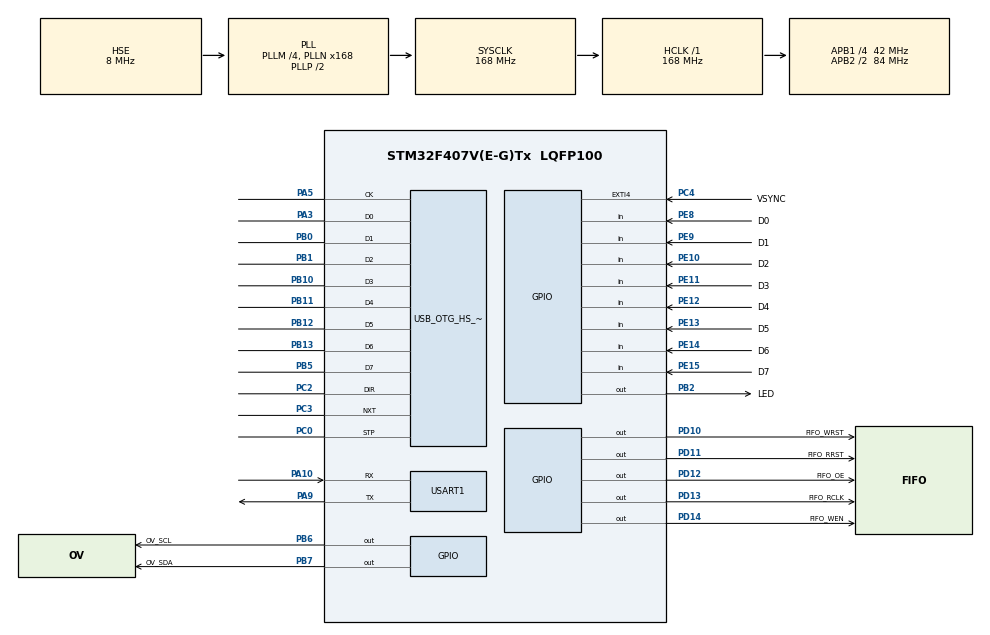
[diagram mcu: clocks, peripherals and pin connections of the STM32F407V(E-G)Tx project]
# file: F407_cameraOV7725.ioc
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Mcu.Family=STM32F4
Mcu.Name=STM32F407V(E-G)Tx
Mcu.Package=LQFP100
NVIC.EXTI4_IRQn=true\:0\:0\:true\:false\:true\:true\:true\:true
NVIC.OTG_HS_IRQn=true\:0\:0\:false\:false\:true\:false\:true\:true
NVIC.PriorityGroup=NVIC_PRIORITYGROUP_4
NVIC.TIM2_IRQn=true\:0\:0\:false\:false\:true\:true\:true\:true
NVIC.USART1_IRQn=true\:0\:0\:true\:false\:true\:true\:true\:true
PA10.Mode=Asynchronous
PA10.Signal=USART1_RX
PA13.Mode=Serial_Wire
PA13.Signal=SYS_JTMS-SWDIO
PA14.Mode=Serial_Wire
PA14.Signal=SYS_JTCK-SWCLK
PA3.Mode=Device_HS
PA3.Signal=USB_OTG_HS_ULPI_D0
PA5.Mode=Device_HS
PA5.Signal=USB_OTG_HS_ULPI_CK
PA9.Mode=Asynchronous
PA9.Signal=USART1_TX
PB0.Mode=Device_HS
PB0.Signal=USB_OTG_HS_ULPI_D1
PB1.Mode=Device_HS
PB1.Signal=USB_OTG_HS_ULPI_D2
PB10.Mode=Device_HS
PB10.Signal=USB_OTG_HS_ULPI_D3
PB11.Mode=Device_HS
PB11.Signal=USB_OTG_HS_ULPI_D4
PB12.Mode=Device_HS
PB12.Signal=USB_OTG_HS_ULPI_D5
PB13.Mode=Device_HS
PB13.Signal=USB_OTG_HS_ULPI_D6
PB2.GPIO_Label=LED
PB2.GPIO_ModeDefaultOutputPP=GPIO_MODE_OUTPUT_PP
PB2.GPIO_PuPd=GPIO_PULLUP
PB2.GPIO_Speed=GPIO_SPEED_FREQ_HIGH
PB2.PinState=GPIO_PIN_RESET
PB2.Signal=GPIO_Output
PB5.Mode=Device_HS
PB5.Signal=USB_OTG_HS_ULPI_D7
PB6.GPIO_Label=OV_SCL
PB6.GPIO_ModeDefaultOutputPP=GPIO_MODE_OUTPUT_OD
PB6.GPIO_PuPd=GPIO_PULLUP
PB6.GPIO_Speed=GPIO_SPEED_FREQ_VERY_HIGH
PB6.PinState=GPIO_PIN_SET
PB6.Signal=GPIO_Output
PB7.GPIO_Label=OV_SDA
PB7.GPIO_ModeDefaultOutputPP=GPIO_MODE_OUTPUT_OD
PB7.GPIO_PuPd=GPIO_PULLUP
PB7.GPIO_Speed=GPIO_SPEED_FREQ_VERY_HIGH
PB7.PinState=GPIO_PIN_SET
PB7.Signal=GPIO_Output
PC0.Mode=Device_HS
PC0.Signal=USB_OTG_HS_ULPI_STP
PC2.Mode=Device_HS
PC2.Signal=USB_OTG_HS_ULPI_DIR
PC3.Mode=Device_HS
PC3.Signal=USB_OTG_HS_ULPI_NXT
PC4.GPIO_Label=VSYNC
PC4.GPIO_ModeDefaultEXTI=GPIO_MODE_IT_RISING
PC4.GPIO_PuPd=GPIO_NOPULL
PC4.Signal=GPXTI4
PD10.GPIO_Label=FIFO_WRST
PD10.GPIO_PuPd=GPIO_PULLUP
PD10.GPIO_Speed=GPIO_SPEED_FREQ_VERY_HIGH
PD10.PinState=GPIO_PIN_SET
PD10.Signal=GPIO_Output
PD11.GPIO_Label=FIFO_RRST
PD11.GPIO_ModeDefaultOutputPP=GPIO_MODE_OUTPUT_PP
PD11.GPIO_PuPd=GPIO_PULLUP
PD11.GPIO_Speed=GPIO_SPEED_FREQ_VERY_HIGH
PD11.PinState=GPIO_PIN_SET
PD11.Signal=GPIO_Output
PD12.GPIO_Label=FIFO_OE
PD12.GPIO_ModeDefaultOutputPP=GPIO_MODE_OUTPUT_PP
PD12.GPIO_PuPd=GPIO_PULLUP
PD12.GPIO_Speed=GPIO_SPEED_FREQ_VERY_HIGH
PD12.PinState=GPIO_PIN_SET
PD12.Signal=GPIO_Output
PD13.GPIO_Label=FIFO_RCLK
PD13.GPIO_ModeDefaultOutputPP=GPIO_MODE_OUTPUT_PP
PD13.GPIO_PuPd=GPIO_PULLUP
PD13.GPIO_Speed=GPIO_SPEED_FREQ_VERY_HIGH
PD13.PinState=GPIO_PIN_SET
PD13.Signal=GPIO_Output
PD14.GPIO_Label=FIFO_WEN
PD14.GPIO_ModeDefaultOutputPP=GPIO_MODE_OUTPUT_PP
PD14.GPIO_PuPd=GPIO_PULLUP
PD14.GPIO_Speed=GPIO_SPEED_FREQ_VERY_HIGH
PD14.PinState=GPIO_PIN_SET
PD14.Signal=GPIO_Output
PE10.GPIO_Label=D2
PE10.GPIO_PuPd=GPIO_PULLUP
PE10.Signal=GPIO_Input
PE11.GPIO_Label=D3
PE11.GPIO_PuPd=GPIO_PULLUP
PE11.Signal=GPIO_Input
PE12.GPIO_Label=D4
PE12.GPIO_PuPd=GPIO_PULLUP
PE12.Signal=GPIO_Input
PE13.GPIO_Label=D5
PE13.GPIO_PuPd=GPIO_PULLUP
PE13.Signal=GPIO_Input
PE14.GPIO_Label=D6
PE14.GPIO_PuPd=GPIO_PULLUP
PE14.Signal=GPIO_Input
PE15.GPIO_Label=D7
PE15.GPIO_PuPd=GPIO_PULLUP
PE15.Signal=GPIO_Input
PE8.GPIO_Label=D0
PE8.GPIO_PuPd=GPIO_PULLUP
PE8.Signal=GPIO_Input
PE9.GPIO_Label=D1
PE9.GPIO_PuPd=GPIO_PULLUP
PE9.Signal=GPIO_Input
PH0-OSC_IN.Mode=HSE-External-Oscillator
PH0-OSC_IN.Signal=RCC_OSC_IN
PH1-OSC_OUT.Mode=HSE-External-Oscillator
PH1-OSC_OUT.Signal=RCC_OSC_OUT
ProjectManager.HeapSize=0x1000
ProjectManager.StackSize=0x1000
ProjectManager.TargetToolchain=MDK-ARM V5.32
RCC.48MHZClocksFreq_Value=48000000
RCC.AHBFreq_Value=168000000
RCC.APB1CLKDivider=RCC_HCLK_DIV4
RCC.APB1Freq_Value=42000000
RCC.APB1TimFreq_Value=84000000
RCC.APB2CLKDivider=RCC_HCLK_DIV2
RCC.APB2Freq_Value=84000000
RCC.APB2TimFreq_Value=168000000
RCC.CortexFreq_Value=168000000
RCC.HCLKFreq_Value=168000000
RCC.HSE_VALUE=8000000
RCC.HSI_VALUE=16000000
RCC.LSE_VALUE=32768
RCC.PLLM=4
RCC.PLLN=168
RCC.PLLQ=7
RCC.PLLSourceVirtual=RCC_PLLSOURCE_HSE
RCC.SYSCLKFreq_VALUE=168000000
RCC.SYSCLKSource=RCC_SYSCLKSOURCE_PLLCLK
RCC.VCOOutputFreq_Value=336000000
TIM2.AutoReloadPreload=TIM_AUTORELOAD_PRELOAD_ENABLE
TIM2.ClockDivision=TIM_CLOCKDIVISION_DIV1
TIM2.Period=1000 - 1
TIM2.Prescaler=84 - 1
USART1.VirtualMode=VM_ASYNC
USB_DEVICE.CLASS_NAME_HS=CDC
USB_DEVICE.MANUFACTURER_STRING-CDC_HS=Camera
USB_DEVICE.PID_CDC_HS=0x5740
USB_DEVICE.VID-CDC_HS=0x483
USB_DEVICE.VirtualMode-CDC_HS=Cdc
USB_DEVICE.VirtualModeHS=Cdc_HS
USB_OTG_HS.VirtualMode-Device_HS=Device_HS
USB_OTG_HS.dma_enable-Device_HS=ENABLE
VP_TIM2_VS_ClockSourceINT.Mode=Internal
VP_USB_DEVICE_VS_USB_DEVICE_CDC_HS.Mode=CDC_HS
board=custom

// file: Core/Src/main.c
/* USER CODE BEGIN Header */
/**
  ******************************************************************************
  * @file           : main.c
  * @brief          : Main program body
  ******************************************************************************
  * @attention
  *
  * Copyright (c) 2026 STMicroelectronics.
  * All rights reserved.
  *
  * This software is licensed under terms that can be found in the LICENSE file
  * in the root directory of this software component.
  * If no LICENSE file comes with this software, it is provided AS-IS.
  *
  ******************************************************************************
  */
/* USER CODE END Header */
#include "main.h"
#include "tim.h"
#include "usart.h"
#include "usb_device.h"
#include "gpio.h"

/* USER CODE BEGIN Includes */
#include "log.h"
#include "display_app.h"
#include "ov7725.h"
/* USER CODE END Includes */

/* USER CODE BEGIN PV */
static volatile uint16_t led_toggle_cnt = 0;
/* USER CODE END PV */

void SystemClock_Config(void);

/* USER CODE BEGIN 0 */

/**
 * @brief 定时器中断回调函数
 * @param htim 定时器句柄指针
 */
void HAL_TIM_PeriodElapsedCallback(TIM_HandleTypeDef *htim)
{
  if (htim->Instance == TIM2)
  {
    if (led_toggle_cnt++ >= 500)
    {
       led_toggle_cnt = 0;
       HAL_GPIO_TogglePin(LED_GPIO_Port, LED_Pin);
    }
  }
}

/* USER CODE END 0 */

int main(void)
{

  /* MCU Configuration--------------------------------------------------------*/

  /* Reset of all peripherals, Initializes the Flash interface and the Systick. */
  HAL_Init();

  /* Configure the system clock */
  SystemClock_Config();

  /* Initialize all configured peripherals */
  MX_GPIO_Init();
  MX_TIM2_Init();
  MX_USART1_UART_Init();
  MX_USB_DEVICE_Init();
  /* USER CODE BEGIN 2 */
  CAW_LOG_Init(&huart1, LEVEL_DEBUG, true);
  if (OV7725_Setup_Config() != OV7725_OK)
  {
    CAW_LOG_ERROR("Camera Setup Failed!");
  }

  HAL_TIM_Base_Start_IT(&htim2);
  CAW_LOG_INFO("Ready to capture images from OV7725 camera module.");
  /* USER CODE END 2 */

  /* Infinite loop */
  /* USER CODE BEGIN WHILE */
  while (1)
  {
    OV7725_Process_Image();
    /* USER CODE END WHILE */

  }
}

void SystemClock_Config(void)
{
  RCC_OscInitTypeDef RCC_OscInitStruct = {0};
  RCC_ClkInitTypeDef RCC_ClkInitStruct = {0};

  /** Configure the main internal regulator output voltage
  */
  __HAL_RCC_PWR_CLK_ENABLE();
  __HAL_PWR_VOLTAGESCALING_CONFIG(PWR_REGULATOR_VOLTAGE_SCALE1);
  /** Initializes the RCC Oscillators according to the specified parameters
  * in the RCC_OscInitTypeDef structure.
  */
  RCC_OscInitStruct.OscillatorType = RCC_OSCILLATORTYPE_HSE;
  RCC_OscInitStruct.HSEState = RCC_HSE_ON;
  RCC_OscInitStruct.PLL.PLLState = RCC_PLL_ON;
  RCC_OscInitStruct.PLL.PLLSource = RCC_PLLSOURCE_HSE;
  RCC_OscInitStruct.PLL.PLLM = 4;
  RCC_OscInitStruct.PLL.PLLN = 168;
  RCC_OscInitStruct.PLL.PLLP = RCC_PLLP_DIV2;
  RCC_OscInitStruct.PLL.PLLQ = 7;
  if (HAL_RCC_OscConfig(&RCC_OscInitStruct) != HAL_OK)
  {
    Error_Handler();
  }
  /** Initializes the CPU, AHB and APB buses clocks
  */
  RCC_ClkInitStruct.ClockType = RCC_CLOCKTYPE_HCLK|RCC_CLOCKTYPE_SYSCLK
                              |RCC_CLOCKTYPE_PCLK1|RCC_CLOCKTYPE_PCLK2;
  RCC_ClkInitStruct.SYSCLKSource = RCC_SYSCLKSOURCE_PLLCLK;
  RCC_ClkInitStruct.AHBCLKDivider = RCC_SYSCLK_DIV1;
  RCC_ClkInitStruct.APB1CLKDivider = RCC_HCLK_DIV4;
  RCC_ClkInitStruct.APB2CLKDivider = RCC_HCLK_DIV2;

  if (HAL_RCC_ClockConfig(&RCC_ClkInitStruct, FLASH_LATENCY_5) != HAL_OK)
  {
    Error_Handler();
  }
}

void Error_Handler(void)
{
  __disable_irq();
  while (1)
  {
  }
}
